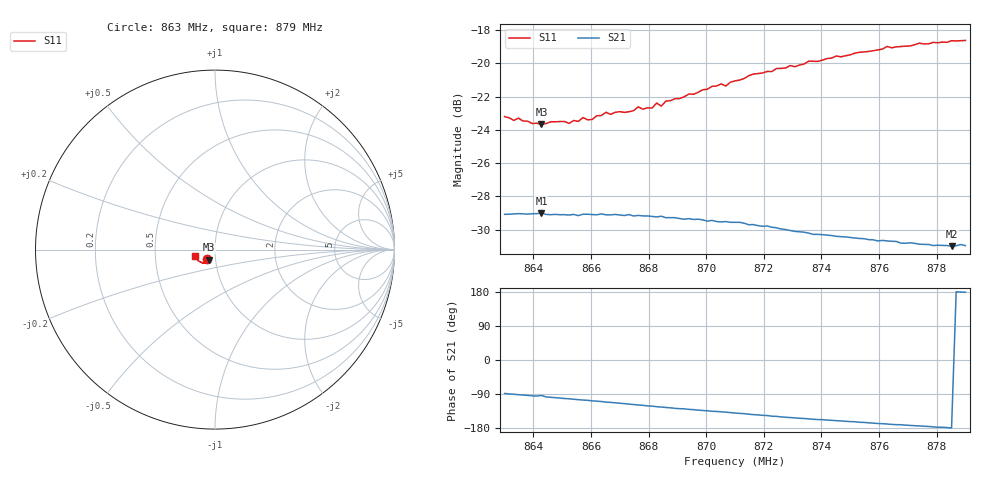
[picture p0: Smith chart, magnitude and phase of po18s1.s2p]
# HZ S RI R 50
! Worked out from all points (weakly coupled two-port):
!   101 points, 863 MHz to 879 MHz, reference 50 ohm
!   highest |S21| = -28.99 dB at 864.28 MHz (marker M1); lowest = -31.0 dB at 878.52 MHz (marker M2)
!   lowest |S11| = -23.7 dB at 864.28 MHz (marker M3), VSWR 1.14, Z = 46.4 - j5.23 ohm
!   |S11| at or under -10 dB: start of sweep to end of sweep
!   S12 and S22 are empty: the file has one direction only
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8.63e8  -0.0435 -0.0539  0.00107 -0.0352  0 0  0 0
8.6428e8  -0.0339 -0.0561  -0.00222 -0.0354  0 0  0 0
8.646e8  -0.0378 -0.0551  -0.00509 -0.0347  0 0  0 0
8.6524e8  -0.0345 -0.0563  -0.00755 -0.0342  0 0  0 0
8.6572e8  -0.0349 -0.0592  -0.00949 -0.0339  0 0  0 0
8.6604e8  -0.0341 -0.0586  -0.0107 -0.0334  0 0  0 0
8.6652e8  -0.0351 -0.0621  -0.0127 -0.0327  0 0  0 0
8.6668e8  -0.0337 -0.0617  -0.013 -0.0325  0 0  0 0
8.6748e8  -0.0335 -0.0639  -0.0161 -0.0308  0 0  0 0
8.6764e8  -0.0361 -0.0646  -0.0167 -0.0307  0 0  0 0
8.6812e8  -0.0358 -0.0641  -0.0182 -0.0295  0 0  0 0
8.6828e8  -0.0371 -0.0664  -0.0189 -0.0289  0 0  0 0
8.6844e8  -0.0352 -0.0656  -0.0195 -0.0287  0 0  0 0
8.686e8  -0.0368 -0.0677  -0.0198 -0.0281  0 0  0 0
8.7052e8  -0.0465 -0.0733  -0.0243 -0.0228  0 0  0 0
8.7068e8  -0.0448 -0.0729  -0.0247 -0.0225  0 0  0 0
8.71e8  -0.0479 -0.0746  -0.0254 -0.0214  0 0  0 0
8.7164e8  -0.0535 -0.076  -0.0266 -0.0192  0 0  0 0
8.7372e8  -0.0687 -0.0748  -0.028 -0.0123  0 0  0 0
8.7644e8  -0.0936 -0.0606  -0.0287 -0.00512  0 0  0 0
8.7852e8  -0.1084 -0.0443  -0.0282 -0.000356  0 0  0 0
8.79e8  -0.1108 -0.0383  -0.0283 0.000595  0 0  0 0
